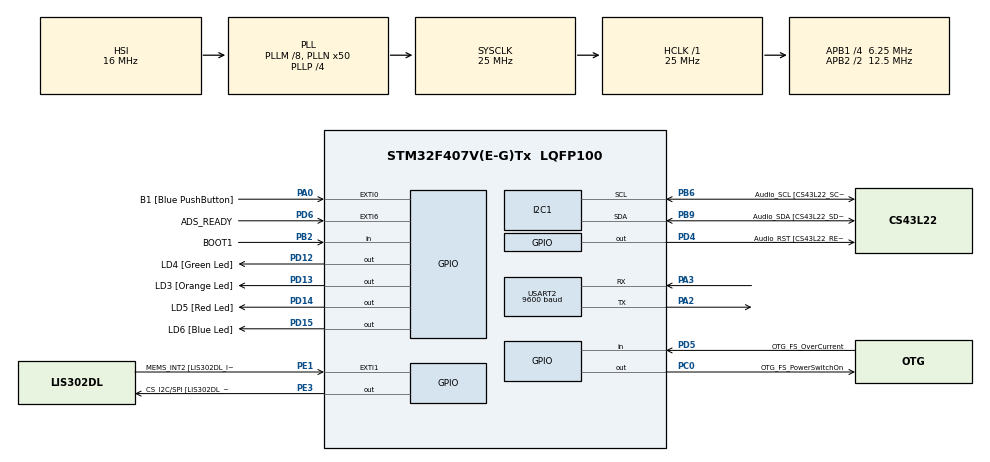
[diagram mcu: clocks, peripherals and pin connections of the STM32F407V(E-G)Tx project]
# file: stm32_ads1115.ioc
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Mcu.Family=STM32F4
Mcu.Name=STM32F407V(E-G)Tx
Mcu.Package=LQFP100
NVIC.EXTI9_5_IRQn=true\:1\:0\:true\:false\:true\:true\:true\:true
NVIC.PriorityGroup=NVIC_PRIORITYGROUP_1
PA0-WKUP.GPIO_Label=B1 [Blue PushButton]
PA0-WKUP.Signal=GPXTI0
PA10.GPIO_Label=OTG_FS_ID
PA10.GPIO_Mode=GPIO_MODE_AF_PP
PA10.GPIO_PuPd=GPIO_NOPULL
PA10.GPIO_Speed=GPIO_SPEED_FREQ_LOW
PA10.Signal=USB_OTG_FS_ID
PA11.GPIO_Label=OTG_FS_DM
PA11.GPIO_Mode=GPIO_MODE_AF_PP
PA11.GPIO_PuPd=GPIO_NOPULL
PA11.GPIO_Speed=GPIO_SPEED_FREQ_LOW
PA11.Signal=USB_OTG_FS_DM
PA12.GPIO_Label=OTG_FS_DP
PA12.GPIO_Mode=GPIO_MODE_AF_PP
PA12.GPIO_PuPd=GPIO_NOPULL
PA12.GPIO_Speed=GPIO_SPEED_FREQ_LOW
PA12.Signal=USB_OTG_FS_DP
PA13.GPIO_Label=SWDIO
PA13.Signal=SYS_JTMS-SWDIO
PA14.GPIO_Label=SWCLK
PA14.Signal=SYS_JTCK-SWCLK
PA2.Mode=Asynchronous
PA2.Signal=USART2_TX
PA3.Mode=Asynchronous
PA3.Signal=USART2_RX
PA4.GPIO_Label=I2S3_WS [CS43L22_LRCK]
PA4.GPIO_Mode=GPIO_MODE_AF_PP
PA4.GPIO_PuPd=GPIO_NOPULL
PA4.GPIO_Speed=GPIO_SPEED_FREQ_LOW
PA4.Signal=I2S3_WS
PA5.GPIO_Label=SPI1_SCK [LIS302DL_SCL/SPC]
PA5.GPIO_Mode=GPIO_MODE_AF_PP
PA5.GPIO_PuPd=GPIO_NOPULL
PA5.GPIO_Speed=GPIO_SPEED_FREQ_LOW
PA5.Signal=SPI1_SCK
PA6.GPIO_Label=SPI1_MISO [LIS302DL_SDO]
PA6.GPIO_Mode=GPIO_MODE_AF_PP
PA6.GPIO_PuPd=GPIO_NOPULL
PA6.GPIO_Speed=GPIO_SPEED_FREQ_LOW
PA6.Signal=SPI1_MISO
PA7.GPIO_Label=SPI1_MOSI [LIS302DL_SDA/SDI/SDO]
PA7.GPIO_Mode=GPIO_MODE_AF_PP
PA7.GPIO_PuPd=GPIO_NOPULL
PA7.GPIO_Speed=GPIO_SPEED_FREQ_LOW
PA7.Signal=SPI1_MOSI
PA9.GPIO_Label=VBUS_FS
PA9.GPIO_Mode=GPIO_MODE_INPUT
PA9.GPIO_PuPd=GPIO_NOPULL
PA9.Signal=USB_OTG_FS_VBUS
PB10.GPIO_Label=CLK_IN [MP45DT02_CLK]
PB10.GPIO_Mode=GPIO_MODE_AF_PP
PB10.GPIO_PuPd=GPIO_NOPULL
PB10.GPIO_Speed=GPIO_SPEED_FREQ_LOW
PB10.Signal=I2S2_CK
PB2.GPIO_Label=BOOT1
PB2.GPIO_Mode=GPIO_MODE_INPUT
PB2.GPIO_PuPd=GPIO_NOPULL
PB2.Signal=GPIO_Input
PB3.GPIO_Label=SWO
PB3.Signal=SYS_JTDO-SWO
PB6.GPIO_Label=Audio_SCL [CS43L22_SCL]
PB6.GPIO_Mode=GPIO_MODE_AF_OD
PB6.GPIO_PuPd=GPIO_NOPULL
PB6.GPIO_Speed=GPIO_SPEED_FREQ_LOW
PB6.Mode=I2C
PB6.Signal=I2C1_SCL
PB9.GPIO_Label=Audio_SDA [CS43L22_SDA]
PB9.GPIO_Mode=GPIO_MODE_AF_OD
PB9.GPIO_PuPd=GPIO_NOPULL
PB9.GPIO_Speed=GPIO_SPEED_FREQ_LOW
PB9.Mode=I2C
PB9.Signal=I2C1_SDA
PC0.GPIO_Label=OTG_FS_PowerSwitchOn
PC0.GPIO_PuPd=GPIO_NOPULL
PC0.GPIO_Speed=GPIO_SPEED_FREQ_LOW
PC0.PinState=GPIO_PIN_SET
PC0.Signal=GPIO_Output
PC10.GPIO_Label=I2S3_SCK [CS43L22_SCLK]
PC10.GPIO_Mode=GPIO_MODE_AF_PP
PC10.GPIO_PuPd=GPIO_NOPULL
PC10.GPIO_Speed=GPIO_SPEED_FREQ_LOW
PC10.Signal=I2S3_CK
PC12.GPIO_Label=I2S3_SD [CS43L22_SDIN]
PC12.GPIO_Mode=GPIO_MODE_AF_PP
PC12.GPIO_PuPd=GPIO_NOPULL
PC12.GPIO_Speed=GPIO_SPEED_FREQ_LOW
PC12.Signal=I2S3_SD
PC14-OSC32_IN.GPIO_Label=PC14-OSC32_IN
PC14-OSC32_IN.Signal=RCC_OSC32_IN
PC15-OSC32_OUT.GPIO_Label=PC15-OSC32_OUT
PC15-OSC32_OUT.Signal=RCC_OSC32_OUT
PC3.GPIO_Label=PDM_OUT [MP45DT02_DOUT]
PC3.GPIO_Mode=GPIO_MODE_AF_PP
PC3.GPIO_PuPd=GPIO_NOPULL
PC3.GPIO_Speed=GPIO_SPEED_FREQ_LOW
PC3.Signal=I2S2_SD
PC7.GPIO_Label=I2S3_MCK [CS43L22_MCLK]
PC7.GPIO_Mode=GPIO_MODE_AF_PP
PC7.GPIO_PuPd=GPIO_NOPULL
PC7.GPIO_Speed=GPIO_SPEED_FREQ_LOW
PC7.Signal=I2S3_MCK
PD12.GPIO_Label=LD4 [Green Led]
PD12.GPIO_PuPd=GPIO_NOPULL
PD12.GPIO_Speed=GPIO_SPEED_FREQ_LOW
PD12.Signal=GPIO_Output
PD13.GPIO_Label=LD3 [Orange Led]
PD13.GPIO_PuPd=GPIO_NOPULL
PD13.GPIO_Speed=GPIO_SPEED_FREQ_LOW
PD13.Signal=GPIO_Output
PD14.GPIO_Label=LD5 [Red Led]
PD14.GPIO_PuPd=GPIO_NOPULL
PD14.GPIO_Speed=GPIO_SPEED_FREQ_LOW
PD14.Signal=GPIO_Output
PD15.GPIO_Label=LD6 [Blue Led]
PD15.GPIO_PuPd=GPIO_NOPULL
PD15.GPIO_Speed=GPIO_SPEED_FREQ_LOW
PD15.Signal=GPIO_Output
PD4.GPIO_Label=Audio_RST [CS43L22_RESET]
PD4.GPIO_PuPd=GPIO_NOPULL
PD4.GPIO_Speed=GPIO_SPEED_FREQ_LOW
PD4.Signal=GPIO_Output
PD5.GPIO_Label=OTG_FS_OverCurrent
PD5.GPIO_Mode=GPIO_MODE_INPUT
PD5.GPIO_PuPd=GPIO_NOPULL
PD5.Signal=GPIO_Input
PD6.GPIO_Label=ADS_READY
PD6.GPIO_ModeDefaultEXTI=GPIO_MODE_IT_RISING
PD6.Signal=GPXTI6
PE1.GPIO_Label=MEMS_INT2 [LIS302DL_INT2]
PE1.GPIO_ModeDefaultEXTI=GPIO_MODE_EVT_RISING
PE1.GPIO_PuPd=GPIO_NOPULL
PE1.Signal=GPXTI1
PE3.GPIO_Label=CS_I2C/SPI [LIS302DL_CS_I2C/SPI]
PE3.GPIO_PuPd=GPIO_NOPULL
PE3.GPIO_Speed=GPIO_SPEED_FREQ_LOW
PE3.Signal=GPIO_Output
PH0-OSC_IN.GPIO_Label=PH0-OSC_IN
PH0-OSC_IN.Signal=RCC_OSC_IN
PH1-OSC_OUT.GPIO_Label=PH1-OSC_OUT
PH1-OSC_OUT.Signal=RCC_OSC_OUT
ProjectManager.HeapSize=0x200
ProjectManager.StackSize=0x400
ProjectManager.TargetToolchain=STM32CubeIDE
RCC.48MHZClocksFreq_Value=14285714.285714285
RCC.AHBFreq_Value=25000000
RCC.APB1CLKDivider=RCC_HCLK_DIV4
RCC.APB1Freq_Value=6250000
RCC.APB1TimFreq_Value=12500000
RCC.APB2CLKDivider=RCC_HCLK_DIV2
RCC.APB2Freq_Value=12500000
RCC.APB2TimFreq_Value=25000000
RCC.CortexFreq_Value=25000000
RCC.HCLKFreq_Value=25000000
RCC.HSE_VALUE=8000000
RCC.HSI_VALUE=16000000
RCC.LSE_VALUE=32768
RCC.PLLM=8
RCC.PLLN=50
RCC.PLLP=RCC_PLLP_DIV4
RCC.PLLQ=7
RCC.SYSCLKFreq_VALUE=25000000
RCC.SYSCLKSource=RCC_SYSCLKSOURCE_PLLCLK
RCC.VCOOutputFreq_Value=100000000
USART2.BaudRate=9600
USART2.Mode=MODE_TX
USART2.VirtualMode=VM_ASYNC
board=STM32F407G-DISC1

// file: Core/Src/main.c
/* USER CODE BEGIN Header */
/**
  ******************************************************************************
  * @file           : main.c
  * @brief          : Main program body
  ******************************************************************************
  * @attention
  *
  * Copyright (c) 2023 STMicroelectronics.
  * All rights reserved.
  *
  * This software is licensed under terms that can be found in the LICENSE file
  * in the root directory of this software component.
  * If no LICENSE file comes with this software, it is provided AS-IS.
  *
  ******************************************************************************
  */
/* USER CODE END Header */
#include "main.h"
#include "i2c.h"
#include "usart.h"
#include "gpio.h"

/* USER CODE BEGIN Includes */
#include "ads1115.h"
#include <stdio.h>
#include <stdbool.h>
/* USER CODE END Includes */

/* USER CODE BEGIN PV */
volatile bool ads_read;
/* USER CODE END PV */

void SystemClock_Config(void);

/* USER CODE BEGIN 0 */
int __io_putchar(int ch)
{
	if (ch == '\n')
		__io_putchar('\r');

	HAL_UART_Transmit(&huart2, (uint8_t *)&ch, 1, HAL_MAX_DELAY);
	return 1;
}

void HAL_GPIO_EXTI_Callback (uint16_t GPIO_Pin)
{
	if (GPIO_Pin == ADS_READY_Pin)
		ads_read = true;
}
/* USER CODE END 0 */

int main(void)
{

  /* MCU Configuration--------------------------------------------------------*/

  /* Reset of all peripherals, Initializes the Flash interface and the Systick. */
  HAL_Init();

  /* Configure the system clock */
  SystemClock_Config();

  /* Initialize all configured peripherals */
  MX_GPIO_Init();
  MX_I2C1_Init();
  MX_USART2_UART_Init();
  /* USER CODE BEGIN 2 */
  int16_t adc;
  float voltage, lsb;

  ADS_SET_INPUT_MUX(ADS_AIN0_AIN1);
  ADS_SET_DATA_RATE(ADS_DR_860_SPS);
  ADS_startInterrupt();
  /* USER CODE END 2 */

  /* Infinite loop */
  /* USER CODE BEGIN WHILE */
  while (1)
  {
	  if (ads_read == true) {
		  ads_read = false;
		  adc = ADS_read();
		  lsb = ADS_getLSB();
		  voltage = adc * lsb;
		  printf("ADC: %.3f\n", voltage);
	  }

    /* USER CODE END WHILE */

  }
}

void SystemClock_Config(void)
{
  RCC_OscInitTypeDef RCC_OscInitStruct = {0};
  RCC_ClkInitTypeDef RCC_ClkInitStruct = {0};

  /** Configure the main internal regulator output voltage
  */
  __HAL_RCC_PWR_CLK_ENABLE();
  __HAL_PWR_VOLTAGESCALING_CONFIG(PWR_REGULATOR_VOLTAGE_SCALE1);

  /** Initializes the RCC Oscillators according to the specified parameters
  * in the RCC_OscInitTypeDef structure.
  */
  RCC_OscInitStruct.OscillatorType = RCC_OSCILLATORTYPE_HSI;
  RCC_OscInitStruct.HSIState = RCC_HSI_ON;
  RCC_OscInitStruct.HSICalibrationValue = RCC_HSICALIBRATION_DEFAULT;
  RCC_OscInitStruct.PLL.PLLState = RCC_PLL_ON;
  RCC_OscInitStruct.PLL.PLLSource = RCC_PLLSOURCE_HSI;
  RCC_OscInitStruct.PLL.PLLM = 8;
  RCC_OscInitStruct.PLL.PLLN = 50;
  RCC_OscInitStruct.PLL.PLLP = RCC_PLLP_DIV4;
  RCC_OscInitStruct.PLL.PLLQ = 7;
  if (HAL_RCC_OscConfig(&RCC_OscInitStruct) != HAL_OK)
  {
    Error_Handler();
  }

  /** Initializes the CPU, AHB and APB buses clocks
  */
  RCC_ClkInitStruct.ClockType = RCC_CLOCKTYPE_HCLK|RCC_CLOCKTYPE_SYSCLK
                              |RCC_CLOCKTYPE_PCLK1|RCC_CLOCKTYPE_PCLK2;
  RCC_ClkInitStruct.SYSCLKSource = RCC_SYSCLKSOURCE_PLLCLK;
  RCC_ClkInitStruct.AHBCLKDivider = RCC_SYSCLK_DIV1;
  RCC_ClkInitStruct.APB1CLKDivider = RCC_HCLK_DIV4;
  RCC_ClkInitStruct.APB2CLKDivider = RCC_HCLK_DIV2;

  if (HAL_RCC_ClockConfig(&RCC_ClkInitStruct, FLASH_LATENCY_0) != HAL_OK)
  {
    Error_Handler();
  }
}

void Error_Handler(void)
{
  __disable_irq();
  while (1)
  {
  }
}
